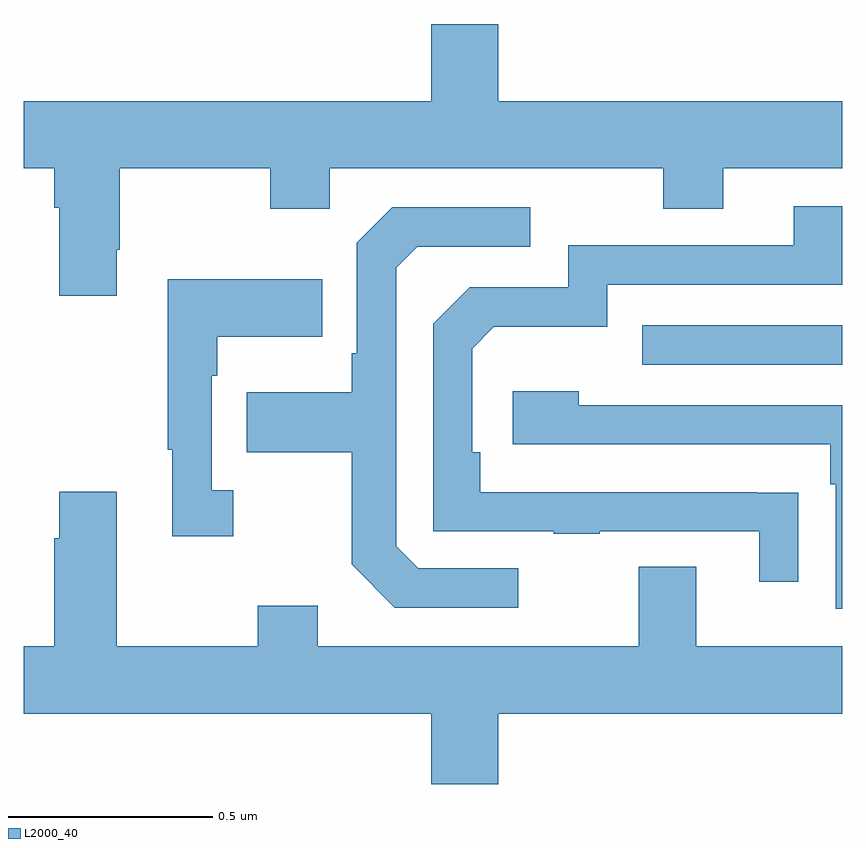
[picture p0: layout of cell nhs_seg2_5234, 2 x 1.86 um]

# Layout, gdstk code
import gdstk
lib = gdstk.Library(unit=1e-6, precision=1e-09)
def R(c, l, rs):  # rectangles x0, y0, x1, y1
    for r in rs: c.add(gdstk.rectangle(r[:2], r[2:], *l))
def P(c, l, *ps):  # polygons
    for p in ps: c.add(gdstk.Polygon(p, *l))
L2000_40 = (2000, 40)

nhs_seg2_5234 = lib.new_cell('nhs_seg2_5234')
R(nhs_seg2_5234, L2000_40, [(177.511,645.825,178,645.921)])
P(nhs_seg2_5234, L2000_40, [(176.227,646.105),(176.235,646.105),(176.235,646.304),(176.602,646.304),(176.602,646.205),(176.748,646.205),(176.748,646.304),(177.562,646.304),(177.562,646.205),(177.709,646.205),(177.709,646.304),(178,646.304),(178,646.468),(177.16,646.468),(177.16,646.657),(176.996,646.657),(176.996,646.468),(176,646.468),(176,646.304),(176.075,646.304),(176.075,646.208),(176.087,646.208),(176.087,645.993),(176.227,645.993)],
  [(177.893,645.512),(177.791,645.512),(177.791,645.513),(177.116,645.513),(177.116,645.61),(177.096,645.61),(177.096,645.864),(177.149,645.917),(177.426,645.917),(177.426,646.02),(178,646.02),(178,646.212),(177.881,646.212),(177.881,646.116),(177.33,646.116),(177.33,646.014),(177.09,646.014),(177,645.924),(177,645.417),(177.295,645.417),(177.295,645.412),(177.407,645.412),(177.407,645.417),(177.797,645.417),(177.797,645.294),(177.893,645.294)],
  [(177.208,645.327),(176.964,645.327),(176.91,645.381),(176.91,646.062),(176.961,646.113),(177.238,646.113),(177.238,646.209),(176.901,646.209),(176.814,646.122),(176.814,645.853),(176.802,645.853),(176.802,645.757),(176.545,645.757),(176.545,645.61),(176.802,645.61),(176.802,645.337),(176.907,645.231),(177.208,645.231)],
  [(176.512,645.518),(176.46,645.518),(176.46,645.797),(176.473,645.797),(176.473,645.893),(176.729,645.893),(176.729,646.033),(176.352,646.033),(176.352,645.617),(176.363,645.617),(176.363,645.405),(176.512,645.405)],
  [(178,645.726),(177.356,645.726),(177.356,645.76),(177.195,645.76),(177.195,645.63),(177.971,645.63),(177.971,645.533),(177.984,645.533),(177.984,645.228),(178,645.228)],
  [(177.16,644.972),(178,644.972),(178,645.136),(177.643,645.136),(177.643,645.331),(177.503,645.331),(177.503,645.136),(176.719,645.136),(176.719,645.235),(176.572,645.235),(176.572,645.136),(176.227,645.136),(176.227,645.514),(176.087,645.514),(176.087,645.401),(176.075,645.401),(176.075,645.136),(176,645.136),(176,644.972),(176.996,644.972),(176.996,644.8),(177.16,644.8)])

lib.write_gds('nhs_seg2_5234.gds')
